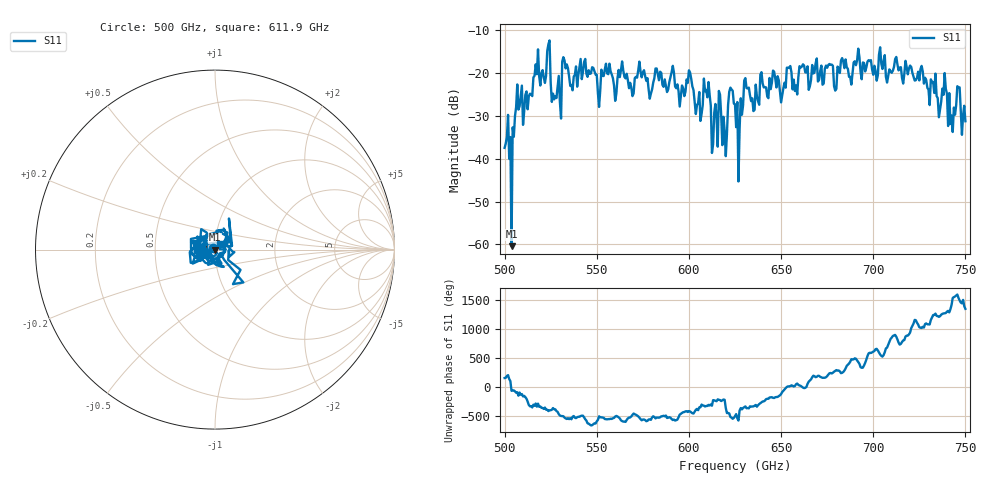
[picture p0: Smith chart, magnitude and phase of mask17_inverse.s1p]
!Created with skrf (http://scikit-rf.org).
# GHz S MA R 50.0
!freq magS11 angS11
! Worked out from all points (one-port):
!   401 points, 500 GHz to 750 GHz, reference 50 ohm
!   lowest |S11| = -60.4 dB at 503.8 GHz (marker M1), VSWR 1.00, Z = 50 - j0.0917 ohm
!   |S11| at or under -10 dB: start of sweep to end of sweep
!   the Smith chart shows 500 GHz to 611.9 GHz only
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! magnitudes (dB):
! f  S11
! 500 GHz  -37.4
! 503.8 GHz  -60.4
! 506.9 GHz  -22.6
! 513.8 GHz  -24.8
! 516.9 GHz  -17.9
! 523.8 GHz  -13.3
! 526.9 GHz  -26.1
! 531.2 GHz  -17.3
! 532.5 GHz  -17.0
! 550.6 GHz  -24.6
! 562.5 GHz  -20.9
! 593.8 GHz  -22.6
! 600 GHz  -19.3
! 606.2 GHz  -31.2
! 609.4 GHz  -23.9
! 612.5 GHz  -38.6
! 617.5 GHz  -29.8
! 619.4 GHz  -33.4
! 622.5 GHz  -23.4
! 625 GHz  -27.2
! 626.2 GHz  -26.7
! 631.2 GHz  -23.5
! 634.4 GHz  -25.9
! 656.2 GHz  -23.8
! 687.5 GHz  -20.8
! 691.2 GHz  -17.0
! 718.8 GHz  -20.2
! 750 GHz  -31.2
